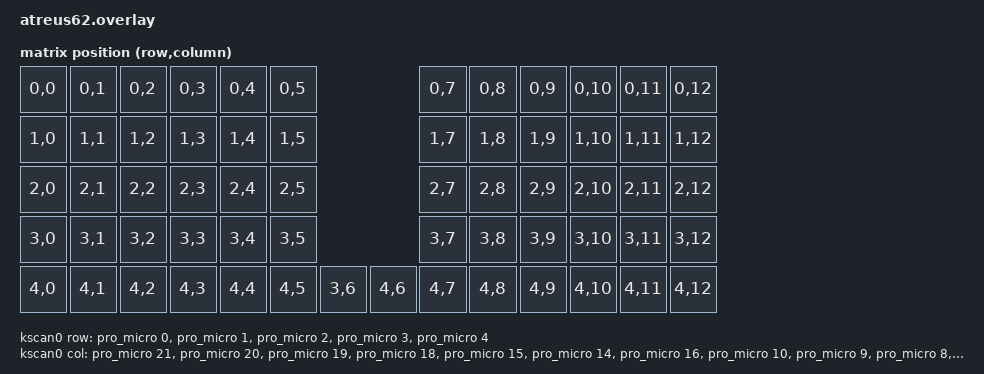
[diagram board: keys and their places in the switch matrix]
/*
 * Copyright (c) 2022 The ZMK Contributors
 *
 * SPDX-License-Identifier: MIT
 */


#include <dt-bindings/zmk/matrix_transform.h>

/ {
    chosen {
        zmk,kscan = &kscan0;
        zmk,matrix_transform = &default_transform;
    };

    /* 
      Thumb buttons (3,6) and (4,6) sit vertically in the matric, and mapped to the bottom for easier keymapping.
    */
    default_transform: keymap_transform_0 {
        compatible = "zmk,matrix-transform";
        columns = <13>;
        rows = <5>;
        map = <
            RC(0,0) RC(0,1) RC(0,2) RC(0,3) RC(0,4) RC(0,5)                 RC(0,7) RC(0,8) RC(0,9) RC(0,10) RC(0,11) RC(0,12)
            RC(1,0) RC(1,1) RC(1,2) RC(1,3) RC(1,4) RC(1,5)                 RC(1,7) RC(1,8) RC(1,9) RC(1,10) RC(1,11) RC(1,12)
            RC(2,0) RC(2,1) RC(2,2) RC(2,3) RC(2,4) RC(2,5)                 RC(2,7) RC(2,8) RC(2,9) RC(2,10) RC(2,11) RC(2,12)
            RC(3,0) RC(3,1) RC(3,2) RC(3,3) RC(3,4) RC(3,5)                 RC(3,7) RC(3,8) RC(3,9) RC(3,10) RC(3,11) RC(3,12)
            RC(4,0) RC(4,1) RC(4,2) RC(4,3) RC(4,4) RC(4,5) RC(3,6) RC(4,6) RC(4,7) RC(4,8) RC(4,9) RC(4,10) RC(4,11) RC(4,12)
        >;
    };

    kscan0: kscan_0 {
        compatible = "zmk,kscan-gpio-matrix";
        label = "KSCAN";
        diode-direction = "row2col";

        col-gpios
            = <&pro_micro 21 (GPIO_ACTIVE_HIGH | GPIO_PULL_DOWN)> // col 0
            , <&pro_micro 20 (GPIO_ACTIVE_HIGH | GPIO_PULL_DOWN)> // col 1
            , <&pro_micro 19 (GPIO_ACTIVE_HIGH | GPIO_PULL_DOWN)> // col 2
            , <&pro_micro 18 (GPIO_ACTIVE_HIGH | GPIO_PULL_DOWN)> // col 3
            , <&pro_micro 15 (GPIO_ACTIVE_HIGH | GPIO_PULL_DOWN)> // col 4
            , <&pro_micro 14 (GPIO_ACTIVE_HIGH | GPIO_PULL_DOWN)> // col 5
            , <&pro_micro 16 (GPIO_ACTIVE_HIGH | GPIO_PULL_DOWN)> // col 6
            , <&pro_micro 10 (GPIO_ACTIVE_HIGH | GPIO_PULL_DOWN)> // col 7
            , <&pro_micro 9 (GPIO_ACTIVE_HIGH | GPIO_PULL_DOWN)> // col 8
            , <&pro_micro 8 (GPIO_ACTIVE_HIGH | GPIO_PULL_DOWN)> // col 9
            , <&pro_micro 7 (GPIO_ACTIVE_HIGH | GPIO_PULL_DOWN)> // col 10
            , <&pro_micro 6 (GPIO_ACTIVE_HIGH | GPIO_PULL_DOWN)> // col 11
            , <&pro_micro 5 (GPIO_ACTIVE_HIGH | GPIO_PULL_DOWN)> // col 12
            ;

        row-gpios
            = <&pro_micro 0 (GPIO_ACTIVE_HIGH | GPIO_PULL_DOWN)> // row 0
            , <&pro_micro 1 (GPIO_ACTIVE_HIGH | GPIO_PULL_DOWN)> // row 1
            , <&pro_micro 2 (GPIO_ACTIVE_HIGH | GPIO_PULL_DOWN)> // row 2
            , <&pro_micro 3 (GPIO_ACTIVE_HIGH | GPIO_PULL_DOWN)> // row 3
            , <&pro_micro 4 (GPIO_ACTIVE_HIGH | GPIO_PULL_DOWN)> // row 4
            ;
    };
};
